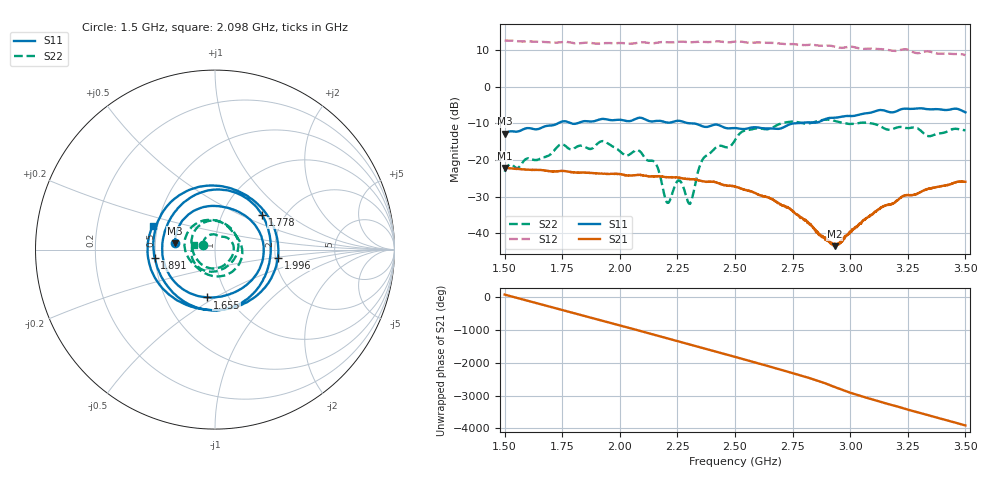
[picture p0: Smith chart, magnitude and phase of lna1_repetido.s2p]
!Agilent Technologies,E8364A,US41440144,A.06.04.32
!Agilent E8364A: A.06.04.32
!Date: Monday, February 18, 2019 17:01:41
!Correction: S11(Off) S21(Off) S12(Off) S22(Off)
!S2P File: Measurements: S11, S21, S12, S22:
# Hz S  dB  R 50
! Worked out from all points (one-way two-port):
!   1601 points, 1.5 GHz to 3.5 GHz, reference 50 ohm
!   highest |S21| = -22.15 dB at 1.5 GHz (marker M1); lowest = -43.5 dB at 2.934 GHz (marker M2)
!   lowest |S11| = -12.9 dB at 1.5 GHz (marker M3), VSWR 1.59, Z = 31.6 + j2.34 ohm
!   |S11| at or under -10 dB: start of sweep to 1.733 GHz; 1.788 GHz to 1.817 GHz (28.55 MHz wide, 1.58 % of centre); 2.299 GHz to 2.764 GHz (464.6 MHz wide, 18.4 % of centre)
!   |S22| runs from -32.0 to -9.0 dB; largest |S21 - S12| = 4.3
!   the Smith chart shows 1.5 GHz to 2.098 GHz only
!   S11 on the Smith chart (normalised r, x): 1.5 GHz: 0.63, +0.05; 1.655 GHz: 0.80, -0.46; 1.778 GHz: 1.54, +0.67; 1.891 GHz: 0.50, -0.05; 1.996 GHz: 2.07, -0.21; 2.098 GHz: 0.47, +0.14
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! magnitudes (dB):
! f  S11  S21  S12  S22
! 1.5 GHz  -12.9  -22.2  12.5  -23.2
! 1.655 GHz  -11.4  -22.7  12.2  -19.6
! 1.742 GHz  -9.7  -23.0  12.1  -15.8
! 1.778 GHz  -9.7  -23.2  12.1  -16.9
! 1.834 GHz  -9.6  -23.4  11.8  -16.1
! 1.891 GHz  -9.4  -23.6  11.7  -16.3
! 1.93 GHz  -8.8  -23.8  11.8  -14.9
! 1.996 GHz  -9.0  -23.8  11.9  -17.4
! 2.098 GHz  -8.6  -24.2  12.1  -18.4
! 2.167 GHz  -9.3  -24.4  12.0  -22.6
! 2.205 GHz  -9.8  -24.7  12.1  -31.6
! 2.257 GHz  -9.3  -24.8  12.2  -25.6
! 2.304 GHz  -10.0  -25.2  12.1  -31.9
! 2.362 GHz  -10.9  -25.8  12.1  -19.6
! 2.5 GHz  -11.3  -27.2  12.3  -14.6
! 2.546 GHz  -11.5  -28.1  12.0  -11.9
! 2.834 GHz  -9.8  -38.1  11.4  -9.9
! 2.934 GHz  -8.5  -43.5  10.9  -9.4
! 3.167 GHz  -6.9  -32.2  9.9  -11.8
! 3.28 GHz  -6.0  -29.5  9.2  -11.2
! 3.342 GHz  -6.2  -27.9  9.6  -13.5
! 3.5 GHz  -7.0  -25.9  8.5  -11.9
